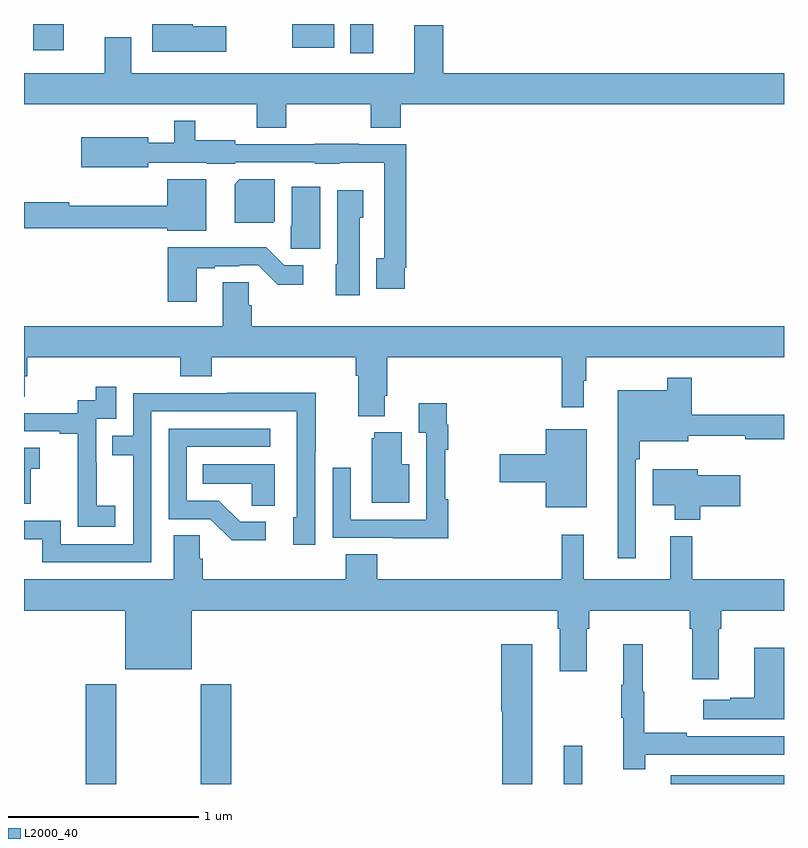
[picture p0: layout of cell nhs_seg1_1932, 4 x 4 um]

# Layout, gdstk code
import gdstk
lib = gdstk.Library(unit=1e-6, precision=1e-09)
def R(c, l, rs):  # rectangles x0, y0, x1, y1
    for r in rs: c.add(gdstk.rectangle(r[:2], r[2:], *l))
def P(c, l, *ps):  # polygons
    for p in ps: c.add(gdstk.Polygon(p, *l))
L2000_40 = (2000, 40)

nhs_seg1_1932 = lib.new_cell('nhs_seg1_1932')
R(nhs_seg1_1932, L2000_40, [(217.325,504.199,217.485,504.724), (217.93,504.199,218.09,504.724), (219.842,504.199,219.939,504.4), (220.404,504.199,221,504.246), (218.717,508.044,218.839,508.199), (217.049,508.062,217.21,508.199), (218.413,508.073,218.632,508.199)])
P(nhs_seg1_1932, L2000_40, [(218.065,508.187),(217.888,508.187),(217.888,508.199),(217.676,508.199),(217.676,508.052),(218.065,508.052)],
  [(218.379,507.776),(218.824,507.776),(218.824,507.652),(218.984,507.652),(218.984,507.776),(221,507.776),(221,507.94),(219.206,507.94),(219.206,508.192),(219.053,508.192),(219.053,507.94),(217.564,507.94),(217.564,508.129),(217.424,508.129),(217.424,507.94),(217,507.94),(217,507.776),(218.224,507.776),(218.224,507.652),(218.379,507.652)],
  [(219.004,506.917),(219.011,506.917),(219.011,507.567),(218.761,507.567),(218.761,507.569),(218.529,507.569),(218.529,507.567),(218.112,507.567),(218.112,507.586),(217.9,507.586),(217.9,507.691),(217.79,507.691),(217.79,507.575),(217.654,507.575),(217.654,507.604),(217.302,507.604),(217.302,507.446),(217.654,507.446),(217.654,507.47),(217.962,507.47),(217.962,507.464),(218.112,507.464),(218.112,507.471),(218.529,507.471),(218.529,507.464),(218.661,507.464),(218.661,507.47),(218.895,507.47),(218.895,506.966),(218.855,506.966),(218.855,506.805),(219.004,506.805)],
  [(217.96,507.382),(217.754,507.382),(217.754,507.242),(217.237,507.242),(217.237,507.26),(217,507.26),(217,507.124),(217.754,507.124),(217.754,507.11),(217.96,507.11)],
  [(218.32,507.16),(218.32,507.382),(218.134,507.382),(218.108,507.356),(218.108,507.152),(218.312,507.152)],
  [(218.56,507.343),(218.408,507.343),(218.408,507.138),(218.404,507.138),(218.404,507.015),(218.56,507.015)],
  [(218.767,507.18),(218.785,507.18),(218.785,507.325),(218.648,507.325),(218.648,506.934),(218.642,506.934),(218.642,506.772),(218.767,506.772)],
  [(217.909,506.913),(218.005,506.913),(218.005,506.925),(218.132,506.925),(218.132,506.928),(218.232,506.928),(218.335,506.826),(218.47,506.826),(218.47,506.928),(218.37,506.928),(218.275,507.023),(217.757,507.023),(217.757,506.736),(217.909,506.736)],
  [(218.899,506.242),(218.912,506.242),(218.912,506.444),(219.829,506.444),(219.829,506.181),(219.946,506.181),(219.946,506.321),(219.958,506.321),(219.958,506.444),(221,506.444),(221,506.608),(218.198,506.608),(218.198,506.718),(218.184,506.718),(218.184,506.84),(218.045,506.84),(218.045,506.608),(217,506.608),(217,506.236),(217.003,506.236),(217.003,506.346),(217.016,506.346),(217.016,506.444),(217.823,506.444),(217.823,506.345),(217.988,506.345),(217.988,506.444),(218.747,506.444),(218.747,506.348),(218.759,506.348),(218.759,506.135),(218.899,506.135)],
  [(220.221,505.907),(220.241,505.907),(220.241,506.003),(220.495,506.003),(220.495,506.033),(220.796,506.033),(220.796,506.014),(221,506.014),(221,506.143),(220.514,506.143),(220.514,506.338),(220.386,506.338),(220.386,506.272),(220.124,506.272),(220.124,505.386),(220.221,505.386)],
  [(217.48,505.663),(217.382,505.663),(217.382,505.892),(217.38,505.892),(217.38,506.121),(217.485,506.121),(217.485,506.29),(217.377,506.29),(217.377,506.22),(217.284,506.22),(217.284,506.151),(217,506.151),(217,506.055),(217.187,506.055),(217.187,506.043),(217.283,506.043),(217.283,505.759),(217.282,505.759),(217.282,505.553),(217.48,505.553)],
  [(217.671,506.16),(218.436,506.16),(218.436,505.602),(218.417,505.602),(218.417,505.458),(218.532,505.458),(218.532,505.951),(218.535,505.951),(218.535,506.258),(218.071,506.258),(218.071,506.256),(217.575,506.256),(217.575,506.031),(217.465,506.031),(217.465,505.93),(217.575,505.93),(217.575,505.461),(217.194,505.461),(217.194,505.584),(217,505.584),(217,505.488),(217.097,505.488),(217.097,505.365),(217.671,505.365)],
  [(219.233,505.697),(219.218,505.697),(219.218,505.958),(219.233,505.958),(219.233,506.09),(219.226,506.09),(219.226,506.203),(219.077,506.203),(219.077,506.047),(219.117,506.047),(219.117,505.59),(218.721,505.59),(218.721,505.864),(218.625,505.864),(218.625,505.494),(218.941,505.494),(218.941,505.493),(219.233,505.493)],
  [(218.272,505.578),(218.137,505.578),(218.026,505.689),(217.857,505.689),(217.857,505.974),(218.296,505.974),(218.296,506.07),(217.761,506.07),(217.761,505.593),(217.98,505.593),(218.093,505.481),(218.272,505.481)],
  [(219.961,506.065),(219.746,506.065),(219.746,505.934),(219.504,505.934),(219.504,505.787),(219.746,505.787),(219.746,505.655),(219.961,505.655)],
  [(219.028,505.882),(218.989,505.882),(218.989,506.05),(218.843,506.05),(218.843,506.019),(218.831,506.019),(218.831,505.679),(219.028,505.679)],
  [(217.035,505.859),(217.084,505.859),(217.084,505.969),(217,505.969),(217,505.674),(217.035,505.674)],
  [(218.32,505.882),(217.942,505.882),(217.942,505.778),(218.199,505.778),(218.199,505.663),(218.32,505.663)],
  [(220.559,505.66),(220.771,505.66),(220.771,505.825),(220.546,505.825),(220.546,505.855),(220.31,505.855),(220.31,505.667),(220.424,505.667),(220.424,505.589),(220.559,505.589)],
  [(220.657,505.016),(220.67,505.016),(220.67,505.112),(221,505.112),(221,505.276),(220.517,505.276),(220.517,505.504),(220.4,505.504),(220.4,505.276),(219.947,505.276),(219.947,505.51),(219.829,505.51),(219.829,505.276),(218.858,505.276),(218.858,505.409),(218.693,505.409),(218.693,505.276),(217.94,505.276),(217.94,505.385),(217.926,505.385),(217.926,505.508),(217.787,505.508),(217.787,505.276),(217,505.276),(217,505.112),(217.532,505.112),(217.532,504.803),(217.882,504.803),(217.882,505.112),(219.809,505.112),(219.809,505.016),(219.821,505.016),(219.821,504.792),(219.961,504.792),(219.961,505.016),(219.974,505.016),(219.974,505.112),(220.505,505.112),(220.505,505.016),(220.517,505.016),(220.517,504.75),(220.657,504.75)],
  [(219.676,504.934),(219.512,504.934),(219.512,504.582),(219.518,504.582),(219.518,504.199),(219.676,504.199)],
  [(220.271,504.354),(221,504.354),(221,504.45),(220.487,504.45),(220.487,504.47),(220.264,504.47),(220.264,504.684),(220.256,504.684),(220.256,504.934),(220.154,504.934),(220.154,504.721),(220.143,504.721),(220.143,504.547),(220.154,504.547),(220.154,504.276),(220.271,504.276)],
  [(221,504.916),(220.844,504.916),(220.844,504.653),(220.718,504.653),(220.718,504.643),(220.575,504.643),(220.575,504.539),(221,504.539)])

lib.write_gds('nhs_seg1_1932.gds')
